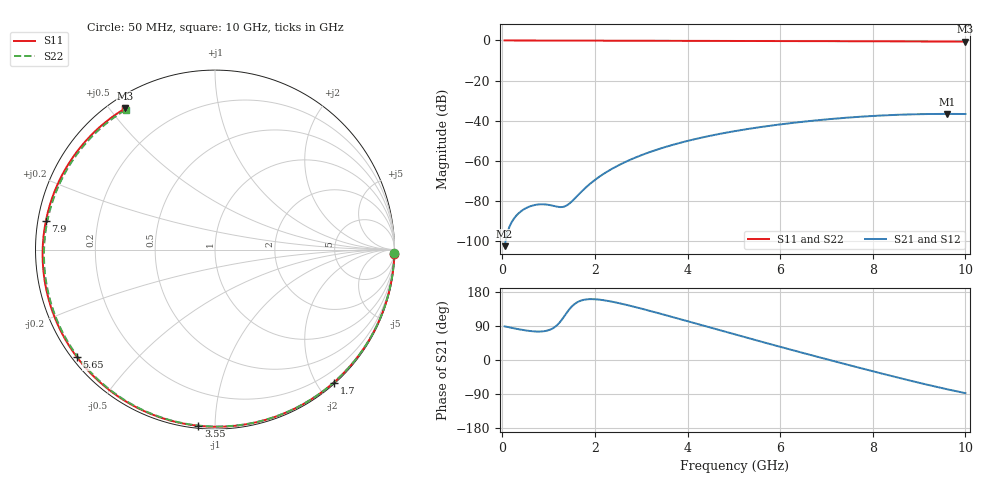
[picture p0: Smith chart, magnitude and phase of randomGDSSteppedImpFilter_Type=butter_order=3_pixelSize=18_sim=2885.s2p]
! freq	dB(S11)	phase(S11)	dB(S12)	phase(S12)
!  dB(S21)	phase(S21)	dB(S22)	phase(S22)
!S-par simulation data
#  GHz  S  DB  R 50
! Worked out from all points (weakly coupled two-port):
!   200 points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, 50 MHz to 10 GHz, reference 50 ohm
!   highest |S21| = -36.64 dB at 9.6 GHz (marker M1); lowest = -102.6 dB at 50 MHz (marker M2)
!   lowest |S11| = -0.6 dB at 10 GHz (marker M3), VSWR 28.46, Z = 2.29 + j27.5 ohm
!   |S11| at or under -10 dB: nowhere
!   |S22| runs from -0.7 to 0.0 dB; largest |S21 - S12| = 0
!   S11 on the Smith chart (normalised r, x): 50 MHz: 0, -78; 1.7 GHz: 0.02, -2.23; 3.55 GHz: 0.01, -0.91; 5.65 GHz: 0.01, -0.34; 7.9 GHz: 0.02, +0.08; 10 GHz: 0.05, +0.55
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0.05  -0.00 -1.5  -102.63 88.8  -102.63 88.8  -0.00 -1.2
0.4  -0.02 -11.6  -85.29 80.1  -85.29 80.1  -0.01 -9.7
0.75  -0.03 -21.7  -81.90 75.1  -81.90 75.1  -0.02 -18.2
1.5  -0.05 -42.7  -80.34 141.0  -80.34 141.0  -0.05 -36.1
1.7  -0.06 -48.2  -75.65 156.8  -75.65 156.8  -0.05 -40.8
1.75  -0.06 -49.6  -74.52 158.5  -74.52 158.5  -0.05 -41.9
2.05  -0.07 -57.6  -68.74 159.9  -68.74 159.9  -0.06 -48.9
2.45  -0.08 -68.1  -63.01 151.9  -63.01 151.9  -0.07 -58.1
2.9  -0.10 -79.5  -58.18 138.8  -58.18 138.8  -0.09 -68.3
3.4  -0.12 -91.8  -54.02 122.6  -54.02 122.6  -0.11 -79.5
3.55  -0.12 -95.4  -52.95 117.6  -52.95 117.6  -0.11 -82.8
4.3  -0.15 -112.7  -48.49 92.2  -48.49 92.2  -0.14 -99.1
5.05  -0.19 -129.3  -45.12 66.6  -45.12 66.6  -0.18 -115.2
5.65  -0.22 -142.1  -42.97 46.4  -42.97 46.4  -0.22 -128.0
6.2  -0.26 -153.7  -41.32 28.2  -41.32 28.2  -0.26 -139.9
6.7  -0.29 -164.2  -40.05 11.9  -40.05 11.9  -0.30 -150.9
7.3  -0.34 -176.8  -38.79 -7.5  -38.79 -7.5  -0.35 -164.5
7.9  -0.39 170.5  -37.81 -26.6  -37.81 -26.6  -0.42 -178.8
8.35  -0.44 160.7  -37.26 -40.6  -37.26 -40.6  -0.47 169.9
9  -0.50 146.1  -36.78 -60.1  -36.78 -60.1  -0.55 152.5
9.6  -0.57 132.1  -36.64 -77.0  -36.64 -77.0  -0.63 135.1
10  -0.61 122.3  -36.69 -87.5  -36.69 -87.5  -0.68 122.6
